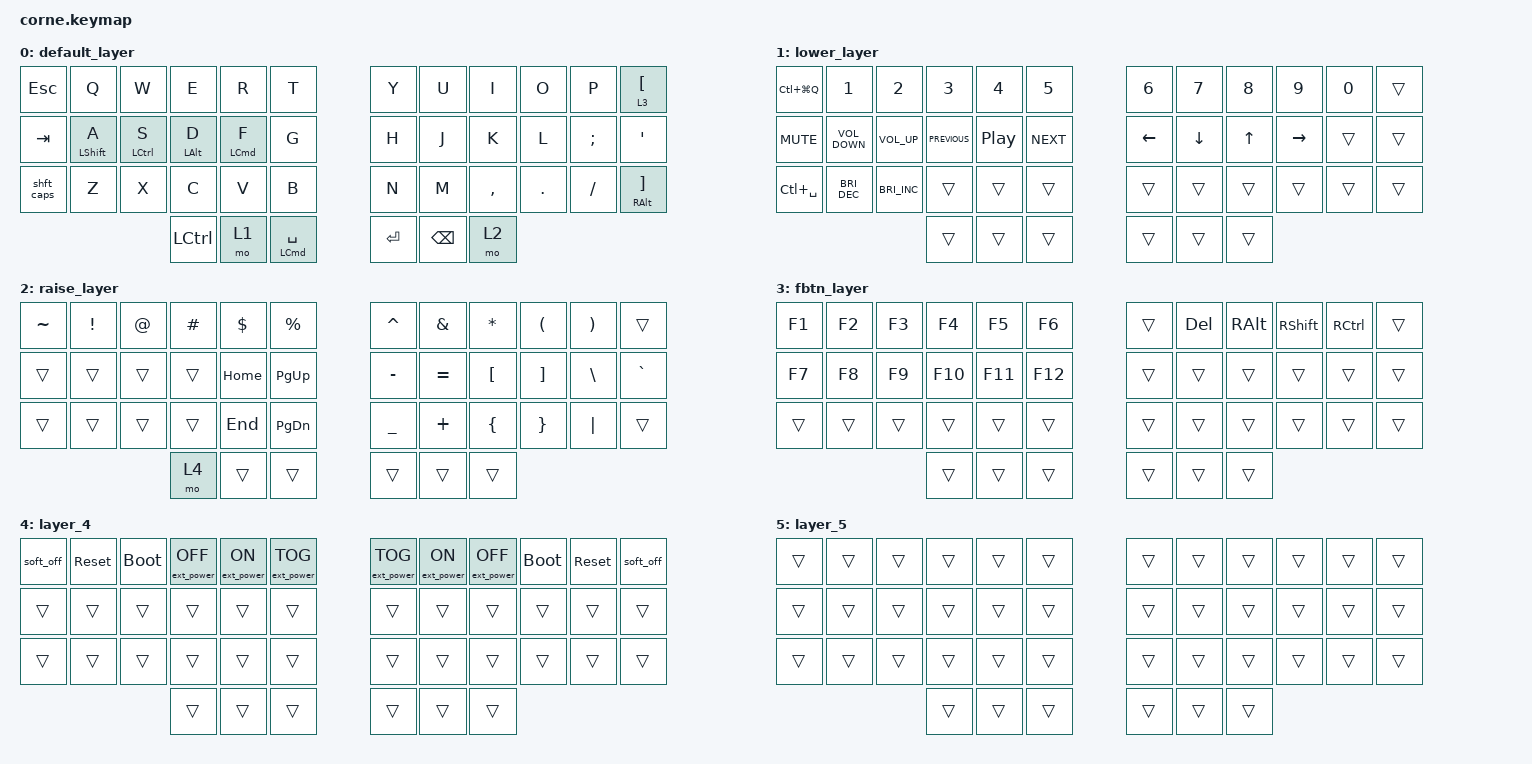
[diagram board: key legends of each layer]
/*
 * Copyright (c) 2020 The ZMK Contributors
 *
 * SPDX-License-Identifier: MIT
 */

#include <behaviors.dtsi>
#include <dt-bindings/zmk/ext_power.h>
#include <dt-bindings/zmk/keys.h>

/ {
    combos {
        compatible = "zmk,combos";

        lpair_comb {
            bindings = <&kp LEFT_PARENTHESIS>;
            key-positions = <4 3>;
        };

        rpair_comb {
            bindings = <&kp RIGHT_PARENTHESIS>;
            key-positions = <7 8>;
        };

        lbkt_comb {
            bindings = <&kp LEFT_BRACKET>;
            key-positions = <16 15>;
        };

        rbkt_comb {
            bindings = <&kp RIGHT_BRACKET>;
            key-positions = <19 20>;
        };

        lbrc_comb {
            bindings = <&kp LEFT_BRACE>;
            key-positions = <28 27>;
        };

        rbrc_comb {
            bindings = <&kp RIGHT_BRACE>;
            key-positions = <31 32>;
        };

        cmb_pipe {
            bindings = <&kp PIPE>;
            key-positions = <19 18>;
        };

        cmb_backslash {
            bindings = <&kp BACKSLASH>;
            key-positions = <21 20>;
        };

        cmd_tilde {
            bindings = <&kp TILDE>;
            key-positions = <17 16>;
        };

        cmd_grave {
            bindings = <&kp GRAVE>;
            key-positions = <15 14>;
        };

        cmd_minus {
            bindings = <&kp MINUS>;
            key-positions = <31 30>;
        };

        cmd_uderscore {
            bindings = <&kp UNDERSCORE>;
            key-positions = <32 33>;
        };

        cmb_plus {
            bindings = <&kp PLUS>;
            key-positions = <28 29>;
        };

        cmb_asterisk {
            bindings = <&kp ASTERISK>;
            key-positions = <27 26>;
        };

        cmd_equal {
            bindings = <&kp EQUAL>;
            key-positions = <19 20 21>;
        };

        cmd_dolar {
            bindings = <&kp DOLLAR>;
            key-positions = <8 19>;
        };

        cmb_hash {
            bindings = <&kp HASH>;
            key-positions = <3 16>;
        };

        cmb_excl {
            bindings = <&kp EXCLAMATION>;
            key-positions = <15 16 14>;
        };
    };

    behaviors {
        hml: hml {
            compatible = "zmk,behavior-hold-tap";
            label = "HML";
            bindings = <&kp>, <&kp>;

            #binding-cells = <2>;
            tapping-term-ms = <200>;
            quick-tap-ms = <175>;
            require-prior-idle-ms = <150>;
            hold-trigger-on-release;
            hold-trigger-key-positions = <0 1 2 3 4 5 12 13 14 15 16 17 24 25 26 27 28 29 36 37 38 39 40 41>;
            flavor = "tap-preferred";
        };

        hmr: hmr {
            compatible = "zmk,behavior-hold-tap";
            label = "HMR";
            bindings = <&kp>, <&kp>;

            #binding-cells = <2>;
            tapping-term-ms = <200>;
            quick-tap-ms = <175>;
            require-prior-idle-ms = <150>;
            hold-trigger-on-release;
            hold-trigger-key-positions = <6 7 8 9 10 11 18 19 20 21 22 23 30 31 32 33 34 35 39 40 41 38 37 36>;
            flavor = "tap-preferred";
        };

        shft_caps: shft_caps {
            compatible = "zmk,behavior-tap-dance";
            label = "SHFT_CAPS";
            #binding-cells = <0>;
            bindings = <&kp LEFT_SHIFT>, <&kp CAPSLOCK>;
        };
    };

    keymap {
        compatible = "zmk,keymap";

        default_layer {
            // -----------------------------------------------------------------------------------------
            // |  TAB |  Q  |  W  |  E  |  R  |  T  |   |  Y  |  U   |  I  |  O  |  P  | BSPC |
            // | CTRL |  A  |  S  |  D  |  F  |  G  |   |  H  |  J   |  K  |  L  |  ;  |  '   |
            // | SHFT |  Z  |  X  |  C  |  V  |  B  |   |  N  |  M   |  ,  |  .  |  /  | ESC  |
            //                    | GUI | LWR | SPC |   | ENT | RSE  | ALT |

            bindings = <
&kp ESCAPE  &kp Q              &kp W                &kp E             &kp R                &kp T                     &kp Y      &kp U          &kp I      &kp O    &kp P     &lt 3 LEFT_BRACKET
&kp TAB     &hml LEFT_SHIFT A  &hml LEFT_CONTROL S  &hml LEFT_ALT D   &hml LEFT_COMMAND F  &kp G                     &kp H      &kp J          &kp K      &kp L    &kp SEMI  &kp SQT
&shft_caps  &kp Z              &kp X                &kp C             &kp V                &kp B                     &kp N      &kp M          &kp COMMA  &kp DOT  &kp FSLH  &mt RIGHT_ALT RIGHT_BRACKET
                                                    &kp LEFT_CONTROL  &mo 1                &mt LEFT_COMMAND SPACE    &kp ENTER  &kp BACKSPACE  &mo 2
            >;
        };

        lower_layer {
            // -----------------------------------------------------------------------------------------
            // |  TAB |  1  |  2  |  3  |  4  |  5  |   |  6  |  7  |  8  |  9  |  0  | BSPC |
            // | BTCLR| BT1 | BT2 | BT3 | BT4 | BT5 |   | LFT | DWN |  UP | RGT |     |      |
            // | SHFT |     |     |     |     |     |   |     |     |     |     |     |      |
            //                    | GUI |     | SPC |   | ENT |     | ALT |

            bindings = <
&kp LC(LG(Q))  &kp N1                &kp N2                &kp N3          &kp N4            &kp N5        &kp N6    &kp N7    &kp N8  &kp N9     &kp N0  &trans
&kp K_MUTE     &kp C_VOLUME_DOWN     &kp C_VOLUME_UP       &kp C_PREVIOUS  &kp C_PLAY_PAUSE  &kp C_NEXT    &kp LEFT  &kp DOWN  &kp UP  &kp RIGHT  &trans  &trans
&kp LC(SPACE)  &kp C_BRIGHTNESS_DEC  &kp C_BRIGHTNESS_INC  &trans          &trans            &trans        &trans    &trans    &trans  &trans     &trans  &trans
                                                           &trans          &trans            &trans        &trans    &trans    &trans
            >;
        };

        raise_layer {
            // -----------------------------------------------------------------------------------------
            // |  TAB |  !  |  @  |  #  |  $  |  %  |   |  ^  |  &  |  *  |  (  |  )  | BSPC |
            // | CTRL |     |     |     |     |     |   |  -  |  =  |  [  |  ]  |  \  |  `   |
            // | SHFT |     |     |     |     |     |   |  _  |  +  |  {  |  }  | "|" |  ~   |
            //                    | GUI |     | SPC |   | ENT |     | ALT |

            bindings = <
&kp TILDE  &kp EXCL  &kp AT  &kp HASH  &kp DLLR  &kp PRCNT        &kp CARET  &kp AMPS   &kp ASTRK  &kp LPAR  &kp RPAR  &trans
&trans     &trans    &trans  &trans    &kp HOME  &kp PAGE_UP      &kp MINUS  &kp EQUAL  &kp LBKT   &kp RBKT  &kp BSLH  &kp GRAVE
&trans     &trans    &trans  &trans    &kp END   &kp PAGE_DOWN    &kp UNDER  &kp PLUS   &kp LBRC   &kp RBRC  &kp PIPE  &trans
                             &mo 4     &trans    &trans           &trans     &trans     &trans
            >;
        };

        fbtn_layer {
            bindings = <
&kp F1  &kp F2  &kp F3  &kp F4   &kp F5   &kp F6     &trans  &kp DELETE  &kp RALT  &kp RSHFT  &kp RCTRL  &trans
&kp F7  &kp F8  &kp F9  &kp F10  &kp F11  &kp F12    &trans  &trans      &trans    &trans     &trans     &trans
&trans  &trans  &trans  &trans   &trans   &trans     &trans  &trans      &trans    &trans     &trans     &trans
                        &trans   &trans   &trans     &trans  &trans      &trans
            >;
        };

        layer_4 {
            bindings = <
&soft_off  &sys_reset  &bootloader  &ext_power EP_OFF  &ext_power EP_ON  &ext_power EP_TOG    &ext_power EP_TOG  &ext_power EP_ON  &ext_power EP_OFF  &bootloader  &sys_reset  &soft_off
&trans     &trans      &trans       &trans             &trans            &trans               &trans             &trans            &trans             &trans       &trans      &trans
&trans     &trans      &trans       &trans             &trans            &trans               &trans             &trans            &trans             &trans       &trans      &trans
                                    &trans             &trans            &trans               &trans             &trans            &trans
            >;
        };

        layer_5 {
            bindings = <
&trans  &trans  &trans  &trans  &trans  &trans    &trans  &trans  &trans  &trans  &trans  &trans
&trans  &trans  &trans  &trans  &trans  &trans    &trans  &trans  &trans  &trans  &trans  &trans
&trans  &trans  &trans  &trans  &trans  &trans    &trans  &trans  &trans  &trans  &trans  &trans
                        &trans  &trans  &trans    &trans  &trans  &trans
            >;
        };
    };
};
